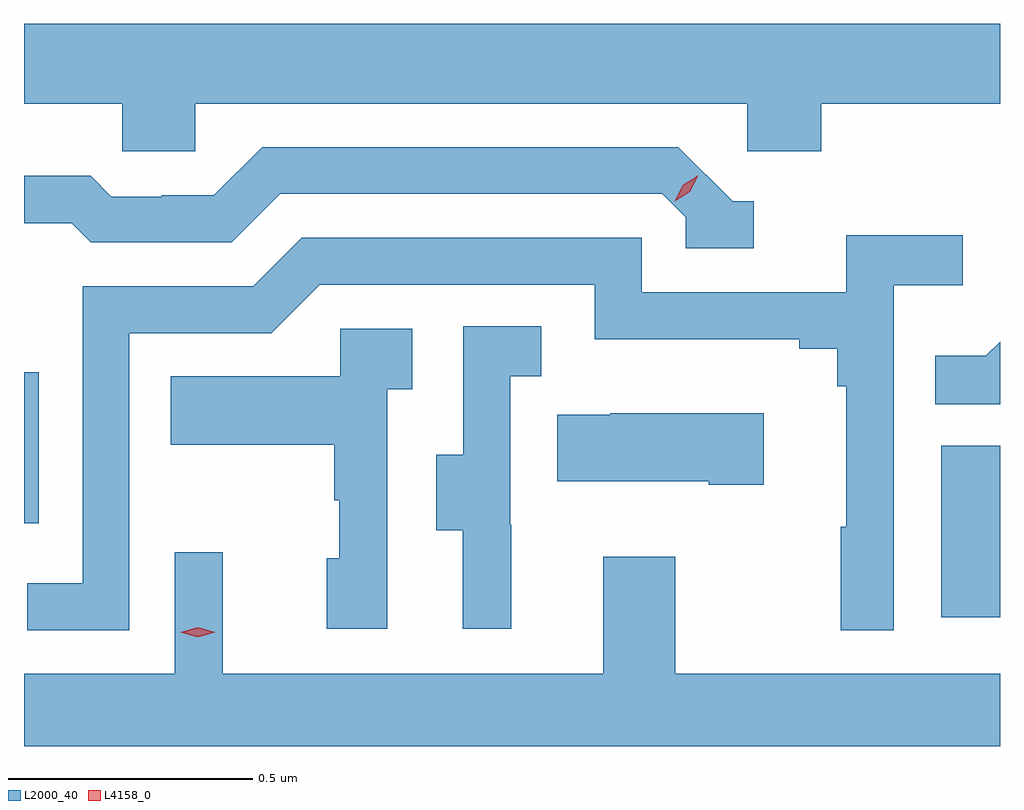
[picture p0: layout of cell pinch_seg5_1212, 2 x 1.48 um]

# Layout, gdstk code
import gdstk
lib = gdstk.Library(unit=1e-6, precision=1e-09)
def R(c, l, rs):  # rectangles x0, y0, x1, y1
    for r in rs: c.add(gdstk.rectangle(r[:2], r[2:], *l))
def P(c, l, *ps):  # polygons
    for p in ps: c.add(gdstk.Polygon(p, *l))
L2000_40 = (2000, 40)
L4158_0 = (4158, 0)

pinch_seg5_1212 = lib.new_cell('pinch_seg5_1212')
R(pinch_seg5_1212, L2000_40, [(869.084,833.064,869.204,833.415), (867.204,833.256,867.234,833.566)])
P(pinch_seg5_1212, L2000_40, [(867.555,834.116),(868.686,834.116),(868.686,834.018),(868.838,834.018),(868.838,834.116),(869.204,834.116),(869.204,834.28),(867.204,834.28),(867.204,834.116),(867.405,834.116),(867.405,834.018),(867.555,834.018)],
  [(868.699,833.916),(868.656,833.916),(868.545,834.027),(867.692,834.027),(867.593,833.928),(867.486,833.928),(867.486,833.925),(867.383,833.925),(867.341,833.968),(867.204,833.968),(867.204,833.871),(867.302,833.871),(867.341,833.832),(867.63,833.832),(867.729,833.931),(868.512,833.931),(868.56,833.883),(868.56,833.82),(868.699,833.82)],
  [(867.42,833.646),(867.711,833.646),(867.81,833.745),(868.374,833.745),(868.374,833.633),(868.793,833.633),(868.793,833.614),(868.87,833.614),(868.87,833.537),(868.889,833.537),(868.889,833.249),(868.878,833.249),(868.878,833.037),(868.986,833.037),(868.986,833.744),(869.128,833.744),(869.128,833.846),(868.889,833.846),(868.889,833.73),(868.47,833.73),(868.47,833.841),(867.773,833.841),(867.674,833.742),(867.324,833.742),(867.324,833.133),(867.211,833.133),(867.211,833.037),(867.42,833.037)],
  [(868.202,833.253),(868.2,833.253),(868.2,833.557),(868.264,833.557),(868.264,833.66),(868.104,833.66),(868.104,833.397),(868.049,833.397),(868.049,833.242),(868.103,833.242),(868.103,833.04),(868.202,833.04)],
  [(867.948,833.531),(868,833.531),(868,833.655),(867.852,833.655),(867.852,833.557),(867.505,833.557),(867.505,833.417),(867.84,833.417),(867.84,833.303),(867.85,833.303),(867.85,833.184),(867.824,833.184),(867.824,833.04),(867.948,833.04)],
  [(869.204,833.628),(869.175,833.599),(869.071,833.599),(869.071,833.5),(869.204,833.5)],
  [(868.72,833.482),(868.405,833.482),(868.405,833.479),(868.297,833.479),(868.297,833.342),(868.607,833.342),(868.607,833.335),(868.72,833.335)],
  [(869.204,832.948),(868.539,832.948),(868.539,833.188),(868.391,833.188),(868.391,832.948),(867.611,832.948),(867.611,833.197),(867.513,833.197),(867.513,832.948),(867.204,832.948),(867.204,832.799),(869.204,832.799)])
P(pinch_seg5_1212, L4158_0, [(868.537,833.916),(868.537,833.916),(868.554,833.949),(868.585,833.968),(868.585,833.968),(868.585,833.967),(868.568,833.935),(868.537,833.916)],
  [(867.56,833.023),(867.525,833.033),(867.525,833.033),(867.525,833.033),(867.56,833.043),(867.596,833.033),(867.596,833.033),(867.596,833.033)])

lib.write_gds('pinch_seg5_1212.gds')
